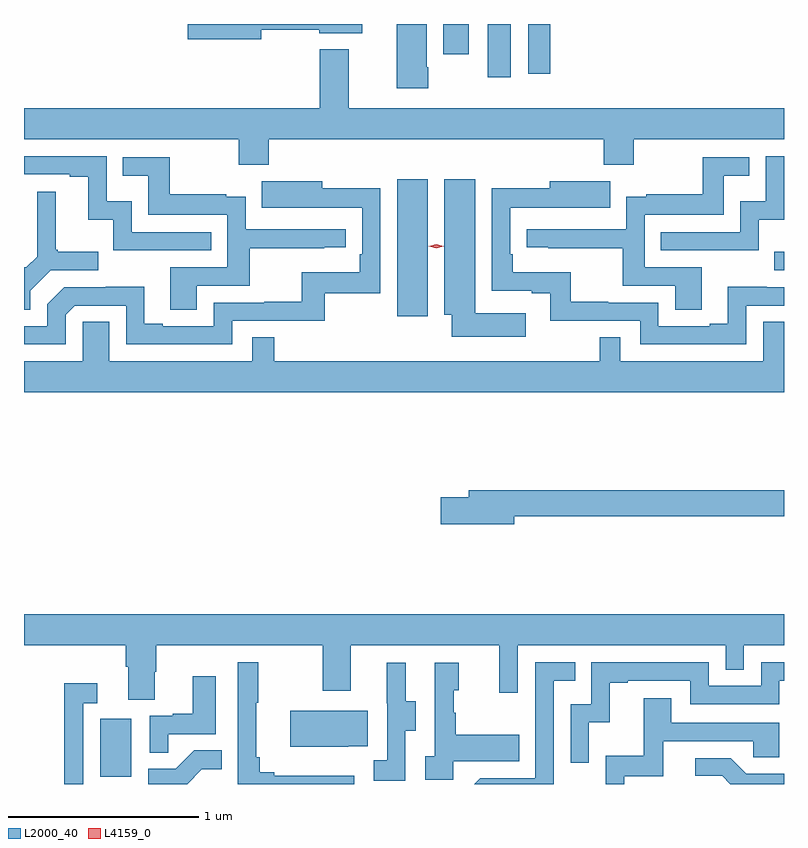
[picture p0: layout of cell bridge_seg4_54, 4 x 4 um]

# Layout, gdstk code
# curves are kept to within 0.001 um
import gdstk
lib = gdstk.Library(unit=1e-6, precision=1e-09)
def R(c, l, rs):  # rectangles x0, y0, x1, y1
    for r in rs: c.add(gdstk.rectangle(r[:2], r[2:], *l))
def P(c, l, *ps):  # polygons
    for p in ps: c.add(gdstk.Polygon(p, *l))
L2000_40 = (2000, 40)
L4159_0 = (4159, 0)

bridge_seg4_54 = lib.new_cell('bridge_seg4_54')
R(bridge_seg4_54, L2000_40, [(866.174,816.108,866.338,816.415), (867.737,818.532,867.898,819.253), (869.721,818.775,869.773,818.872), (868.214,819.792,868.336,820.071), (868.428,819.81,868.544,820.071), (867.98,819.912,868.114,820.071), (865.773,820.069,865.921,820.071)])
P(bridge_seg4_54, L2000_40, [(867.9,819.844),(867.892,819.844),(867.892,820.071),(867.734,820.071),(867.734,819.732),(867.9,819.732)],
  [(867.022,820.041),(867.326,820.041),(867.326,820.022),(867.553,820.022),(867.553,820.071),(866.634,820.071),(866.634,819.991),(867.022,819.991)],
  [(867.062,819.464),(868.823,819.464),(868.823,819.329),(868.983,819.329),(868.983,819.464),(869.773,819.464),(869.773,819.628),(867.481,819.628),(867.481,819.937),(867.329,819.937),(867.329,819.628),(865.773,819.628),(865.773,819.464),(866.902,819.464),(866.902,819.329),(867.062,819.329)],
  [(869.64,819.041),(869.773,819.041),(869.773,819.375),(869.676,819.375),(869.676,819.139),(869.544,819.139),(869.544,818.976),(869.125,818.976),(869.125,818.88),(869.64,818.88)],
  [(866.759,818.976),(866.34,818.976),(866.34,819.139),(866.208,819.139),(866.208,819.375),(865.773,819.375),(865.773,819.279),(866.015,819.279),(866.015,819.267),(866.111,819.267),(866.111,819.041),(866.244,819.041),(866.244,818.88),(866.759,818.88)],
  [(869.341,818.79),(869.04,818.79),(869.04,819.066),(869.457,819.066),(869.457,819.272),(869.591,819.272),(869.591,819.369),(869.346,819.369),(869.346,819.175),(869.047,819.175),(869.047,819.163),(868.944,819.163),(868.944,818.991),(868.419,818.991),(868.419,818.895),(868.531,818.895),(868.531,818.89),(868.924,818.89),(868.924,818.694),(869.201,818.694),(869.201,818.566),(869.341,818.566)],
  [(866.683,818.694),(866.96,818.694),(866.96,818.89),(867.353,818.89),(867.353,818.895),(867.466,818.895),(867.466,818.991),(866.94,818.991),(866.94,819.163),(866.837,819.163),(866.837,819.175),(866.539,819.175),(866.539,819.369),(866.293,819.369),(866.293,819.272),(866.428,819.272),(866.428,819.066),(866.844,819.066),(866.844,818.79),(866.543,818.79),(866.543,818.566),(866.683,818.566)],
  [(868.414,818.548),(868.147,818.548),(868.147,819.253),(867.986,819.253),(867.986,818.54),(868.025,818.54),(868.025,818.426),(868.414,818.426)],
  [(869.574,818.589),(869.773,818.589),(869.773,818.685),(869.682,818.685),(869.682,818.687),(869.477,818.687),(869.477,818.494),(869.381,818.494),(869.381,818.481),(869.112,818.481),(869.112,818.604),(868.847,818.604),(868.847,818.609),(868.651,818.609),(868.651,818.764),(868.346,818.764),(868.346,818.86),(868.332,818.86),(868.332,819.105),(868.645,819.105),(868.645,819.104),(868.859,819.104),(868.859,819.244),(868.541,819.244),(868.541,819.206),(868.236,819.206),(868.236,818.667),(868.445,818.667),(868.445,818.655),(868.542,818.655),(868.542,818.508),(869.016,818.508),(869.016,818.385),(869.574,818.385)],
  [(865.992,818.541),(866.04,818.589),(866.31,818.589),(866.31,818.385),(866.868,818.385),(866.868,818.508),(867.355,818.508),(867.355,818.655),(867.648,818.655),(867.648,819.206),(867.343,819.206),(867.343,819.244),(867.025,819.244),(867.025,819.104),(867.552,819.105),(867.552,818.86),(867.539,818.86),(867.539,818.764),(867.234,818.764),(867.234,818.609),(867.037,818.609),(867.037,818.604),(866.772,818.604),(866.772,818.481),(866.503,818.481),(866.503,818.494),(866.407,818.494),(866.407,818.687),(866.202,818.687),(866.202,818.685),(865.986,818.685),(865.896,818.595),(865.896,818.481),(865.773,818.481),(865.773,818.385),(865.992,818.385)],
  [(865.807,818.668),(865.914,818.775),(866.164,818.775),(866.164,818.872),(865.951,818.872),(865.951,818.884),(865.939,818.884),(865.939,819.187),(865.842,819.187),(865.842,818.847),(865.785,818.79),(865.773,818.79),(865.773,818.566),(865.807,818.566)],
  [(869.773,818.504),(869.663,818.504),(869.663,818.296),(868.911,818.296),(868.911,818.423),(868.803,818.423),(868.803,818.296),(867.089,818.296),(867.089,818.423),(866.973,818.423),(866.973,818.296),(866.221,818.296),(866.221,818.504),(866.082,818.504),(866.082,818.296),(865.773,818.296),(865.773,818.132),(869.773,818.132)],
  [(868.354,817.48),(869.773,817.48),(869.773,817.616),(868.115,817.616),(868.115,817.58),(867.966,817.58),(867.966,817.438),(868.354,817.438)],
  [(866.461,816.663),(866.469,816.663),(866.469,816.8),(867.346,816.8),(867.346,816.561),(867.493,816.561),(867.493,816.8),(868.274,816.8),(868.274,816.552),(868.371,816.552),(868.371,816.8),(869.466,816.8),(869.466,816.673),(869.562,816.673),(869.562,816.8),(869.773,816.8),(869.773,816.964),(865.773,816.964),(865.773,816.8),(866.309,816.8),(866.309,816.688),(866.321,816.688),(866.321,816.514),(866.461,816.514)],
  [(867.51,816.115),(867.091,816.115),(867.091,816.134),(867.014,816.134),(867.014,816.211),(866.995,816.211),(866.995,816.499),(867.007,816.499),(867.007,816.712),(866.898,816.712),(866.898,816.071),(867.51,816.071)],
  [(868.56,816.615),(868.673,816.615),(868.673,816.711),(868.464,816.711),(868.464,816.102),(868.173,816.102),(868.142,816.071),(868.56,816.071)],
  [(868.746,816.395),(868.856,816.395),(868.856,816.603),(868.951,816.603),(868.951,816.615),(869.28,816.615),(869.28,816.492),(869.748,816.492),(869.748,816.615),(869.773,816.615),(869.773,816.711),(869.652,816.711),(869.652,816.588),(869.376,816.588),(869.376,816.711),(868.758,816.711),(868.758,816.492),(868.65,816.492),(868.65,816.183),(868.746,816.183)],
  [(867.78,816.352),(867.835,816.352),(867.835,816.507),(867.781,816.507),(867.781,816.709),(867.683,816.709),(867.683,816.495),(867.684,816.495),(867.684,816.195),(867.615,816.195),(867.615,816.088),(867.78,816.088)],
  [(868.032,816.191),(868.379,816.191),(868.379,816.331),(868.045,816.331),(868.045,816.446),(868.035,816.446),(868.035,816.564),(868.06,816.564),(868.06,816.709),(867.936,816.709),(867.936,816.218),(867.885,816.218),(867.885,816.093),(868.032,816.093)],
  [(866.531,816.333),(866.782,816.333),(866.782,816.637),(866.66,816.637),(866.66,816.442),(866.557,816.442),(866.557,816.429),(866.436,816.429),(866.436,816.235),(866.531,816.235)],
  [(866.085,816.495),(866.158,816.495),(866.158,816.601),(865.984,816.601),(865.984,816.071),(866.085,816.071)],
  [(868.932,816.111),(869.137,816.111),(869.137,816.297),(869.611,816.297),(869.611,816.213),(869.748,816.213),(869.748,816.393),(869.179,816.393),(869.179,816.523),(869.035,816.523),(869.035,816.22),(868.836,816.22),(868.836,816.071),(868.932,816.071)],
  [(867.479,816.269),(867.581,816.269),(867.581,816.457),(867.173,816.457),(867.173,816.266),(867.479,816.266)],
  [(866.709,816.149),(866.813,816.149),(866.813,816.248),(866.67,816.248),(866.572,816.15),(866.427,816.15),(866.427,816.071),(866.631,816.071)],
  [(869.773,816.126),(869.575,816.126),(869.494,816.207),(869.307,816.207),(869.307,816.114),(869.448,816.114),(869.491,816.071),(869.773,816.071)])
P(bridge_seg4_54, L4159_0, [(867.942,818.891),(867.902,818.9),(867.902,818.901),(867.902,818.901),(867.942,818.911),(867.982,818.901),(867.982,818.901),(867.982,818.9)])

lib.write_gds('bridge_seg4_54.gds')
